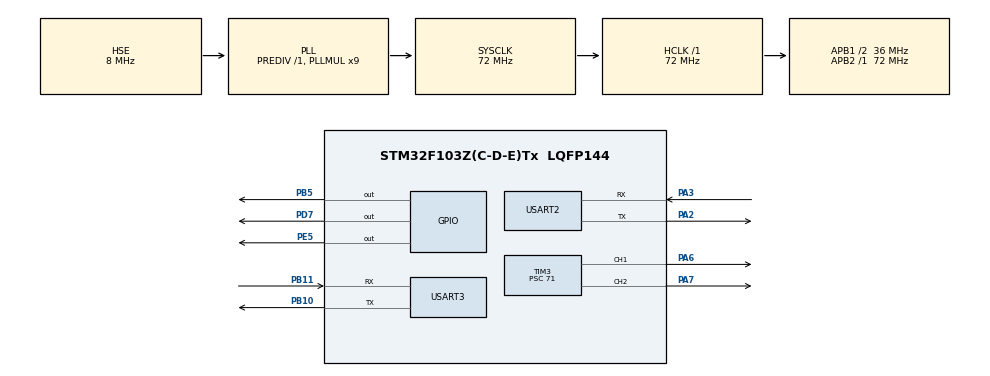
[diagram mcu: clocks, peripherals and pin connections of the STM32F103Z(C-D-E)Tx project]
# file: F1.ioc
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Mcu.Family=STM32F1
Mcu.Name=STM32F103Z(C-D-E)Tx
Mcu.Package=LQFP144
NVIC.PriorityGroup=NVIC_PRIORITYGROUP_2
NVIC.TIM6_IRQn=true\:0\:0\:true\:false\:true\:true\:true\:true
NVIC.USART2_IRQn=true\:0\:1\:true\:false\:true\:true\:true\:true
NVIC.USART3_IRQn=true\:0\:0\:true\:false\:true\:true\:true\:true
OSC_IN.Mode=HSE-External-Oscillator
OSC_IN.Signal=RCC_OSC_IN
OSC_OUT.Mode=HSE-External-Oscillator
OSC_OUT.Signal=RCC_OSC_OUT
PA13.Mode=Serial_Wire
PA13.Signal=SYS_JTMS-SWDIO
PA14.Mode=Serial_Wire
PA14.Signal=SYS_JTCK-SWCLK
PA2.Mode=Asynchronous
PA2.Signal=USART2_TX
PA3.Mode=Asynchronous
PA3.Signal=USART2_RX
PA6.GPIO_Speed=GPIO_SPEED_FREQ_HIGH
PA6.Signal=S_TIM3_CH1
PA7.GPIO_Speed=GPIO_SPEED_FREQ_HIGH
PA7.Signal=S_TIM3_CH2
PB10.Mode=Asynchronous
PB10.Signal=USART3_TX
PB11.Mode=Asynchronous
PB11.Signal=USART3_RX
PB5.GPIO_PuPd=GPIO_PULLUP
PB5.GPIO_Speed=GPIO_SPEED_FREQ_HIGH
PB5.PinState=GPIO_PIN_SET
PB5.Signal=GPIO_Output
PC14-OSC32_IN.Mode=LSE-External-Oscillator
PC14-OSC32_IN.Signal=RCC_OSC32_IN
PC15-OSC32_OUT.Mode=LSE-External-Oscillator
PC15-OSC32_OUT.Signal=RCC_OSC32_OUT
PD7.GPIO_ModeDefaultOutputPP=GPIO_MODE_OUTPUT_PP
PD7.GPIO_PuPd=GPIO_PULLUP
PD7.GPIO_Speed=GPIO_SPEED_FREQ_HIGH
PD7.Signal=GPIO_Output
PE5.GPIO_ModeDefaultOutputPP=GPIO_MODE_OUTPUT_PP
PE5.GPIO_PuPd=GPIO_PULLUP
PE5.GPIO_Speed=GPIO_SPEED_FREQ_HIGH
PE5.PinState=GPIO_PIN_SET
PE5.Signal=GPIO_Output
ProjectManager.HeapSize=0x200
ProjectManager.StackSize=0x400
ProjectManager.TargetToolchain=MDK-ARM V5.27
RCC.AHBFreq_Value=72000000
RCC.APB1CLKDivider=RCC_HCLK_DIV2
RCC.APB1Freq_Value=36000000
RCC.APB1TimFreq_Value=72000000
RCC.APB2Freq_Value=72000000
RCC.APB2TimFreq_Value=72000000
RCC.HCLKFreq_Value=72000000
RCC.PLLMUL=RCC_PLL_MUL9
RCC.PLLSourceVirtual=RCC_PLLSOURCE_HSE
RCC.SYSCLKFreq_VALUE=72000000
RCC.SYSCLKSource=RCC_SYSCLKSOURCE_PLLCLK
RCC.USBFreq_Value=72000000
SH.S_TIM3_CH1.0=TIM3_CH1,PWM Generation1 CH1
SH.S_TIM3_CH2.0=TIM3_CH2,PWM Generation2 CH2
TIM3.AutoReloadPreload=TIM_AUTORELOAD_PRELOAD_DISABLE
TIM3.Channel-PWM\ Generation1\ CH1=TIM_CHANNEL_1
TIM3.Channel-PWM\ Generation2\ CH2=TIM_CHANNEL_2
TIM3.Period=19999
TIM3.Prescaler=71
TIM6.Period=7199
TIM6.Prescaler=49
USART2.VirtualMode=VM_ASYNC
USART3.VirtualMode=VM_ASYNC
VP_TIM3_VS_ClockSourceINT.Mode=Internal
VP_TIM6_VS_ClockSourceINT.Mode=Enable_Timer
board=custom

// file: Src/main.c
/* USER CODE BEGIN Header */
/**
  ******************************************************************************
  * @file           : main.c
  * @brief          : Main program body
  ******************************************************************************
  * @attention
  *
  * Copyright (c) 2023 STMicroelectronics.
  * All rights reserved.
  *
  * This software is licensed under terms that can be found in the LICENSE file
  * in the root directory of this software component.
  * If no LICENSE file comes with this software, it is provided AS-IS.
  *
  ******************************************************************************
  */
/* USER CODE END Header */
#include "main.h"
#include "tim.h"
#include "usart.h"
#include "gpio.h"

/* USER CODE BEGIN Includes */
#include "delay.h"
#include "motor_control.h"
#include "receive_data.h"
/* USER CODE END Includes */

void SystemClock_Config(void);

int main(void)
{
  /* USER CODE BEGIN 1 */
    float y;
    uint8_t i,t;

  /* USER CODE END 1 */

  /* MCU Configuration--------------------------------------------------------*/

  /* Reset of all peripherals, Initializes the Flash interface and the Systick. */
  HAL_Init();

  /* USER CODE BEGIN Init */
  delay_init(72);
  /* USER CODE END Init */

  /* Configure the system clock */
  SystemClock_Config();

  /* Initialize all configured peripherals */
  MX_GPIO_Init();
  MX_TIM3_Init();
  MX_USART2_UART_Init();
  MX_TIM6_Init();
  MX_USART3_UART_Init();
  /* USER CODE BEGIN 2 */
	Ce1_PWM_ENABLE();
	Ce2_PWM_ENABLE();
	/*侧推12的上电初始化*/
	Ce1_SETCOMPAER(1000);
	Ce1_SETCOMPAER(1500);
	Ce2_SETCOMPAER(1000);
	Ce2_SETCOMPAER(1500);
    delay_ms(1386);
//	Ce1_SETCOMPAER(1510);
//	Ce2_SETCOMPAER(1510);

	/*(pid最大输出值这里不限制在另外一个进行更具体的限制,积分限幅,p,i,d,最大误差,死区值 )*/
	pid_param_init(&Motor_Ce,POSITION_PID,500.0f,20.0f,0.8f,2.0f,0.0f,90.0f,3.0f);//初始化小臂PID结构体
    pUartHandle.Done=0;
	pwmHandle_Init(&pwmHandle_1,20,1520,1550,1500);
	pwmHandle_Init(&pwmHandle_2,20,1460,1500,1420);//反转最低1460
//	pwmHandle_Init(&pwmHandle_1,20,1600,1800,1540);
//	pwmHandle_Init(&pwmHandle_2,20,1400,1460,1300);//1460最小转速

	RS_485_ENABLE();
	RS_232_ENABLE();
	Basic_TIM_ENABLE();

//	/*悬浮*/
	//Ce1_SETCOMPAER(1540);
	//Ce2_SETCOMPAER(1540);

  /* USER CODE END 2 */

  /* Infinite loop */
  while (1)
  {

    /* USER CODE BEGIN 3 */

        t++;
        delay_ms(10);
        if (t == 20)
        {
//			printf("数组内容为: ");
//			for (int i = 0; i < RS485_REC_LEN; i++)
//			{
//				printf("%02X ", g_RS485_rx_buf[i]); // 以十六进制格式打印数组元素的值
//			}
//			printf("\n"); // 打印换行符，使输出更清晰
           LED0_TOGGLE();  /* LED0闪烁, 提示系统正在运行 */
           t = 0;
        }

    }

  /* USER CODE END 3 */
}

void SystemClock_Config(void)
{
  RCC_OscInitTypeDef RCC_OscInitStruct = {0};
  RCC_ClkInitTypeDef RCC_ClkInitStruct = {0};

  /** Initializes the RCC Oscillators according to the specified parameters
  * in the RCC_OscInitTypeDef structure.
  */
  RCC_OscInitStruct.OscillatorType = RCC_OSCILLATORTYPE_HSE;
  RCC_OscInitStruct.HSEState = RCC_HSE_ON;
  RCC_OscInitStruct.HSEPredivValue = RCC_HSE_PREDIV_DIV1;
  RCC_OscInitStruct.HSIState = RCC_HSI_ON;
  RCC_OscInitStruct.PLL.PLLState = RCC_PLL_ON;
  RCC_OscInitStruct.PLL.PLLSource = RCC_PLLSOURCE_HSE;
  RCC_OscInitStruct.PLL.PLLMUL = RCC_PLL_MUL9;
  if (HAL_RCC_OscConfig(&RCC_OscInitStruct) != HAL_OK)
  {
    Error_Handler();
  }

  /** Initializes the CPU, AHB and APB buses clocks
  */
  RCC_ClkInitStruct.ClockType = RCC_CLOCKTYPE_HCLK|RCC_CLOCKTYPE_SYSCLK
                              |RCC_CLOCKTYPE_PCLK1|RCC_CLOCKTYPE_PCLK2;
  RCC_ClkInitStruct.SYSCLKSource = RCC_SYSCLKSOURCE_PLLCLK;
  RCC_ClkInitStruct.AHBCLKDivider = RCC_SYSCLK_DIV1;
  RCC_ClkInitStruct.APB1CLKDivider = RCC_HCLK_DIV2;
  RCC_ClkInitStruct.APB2CLKDivider = RCC_HCLK_DIV1;

  if (HAL_RCC_ClockConfig(&RCC_ClkInitStruct, FLASH_LATENCY_2) != HAL_OK)
  {
    Error_Handler();
  }
}

void Error_Handler(void)
{
  __disable_irq();
  while (1)
  {
  }
}
